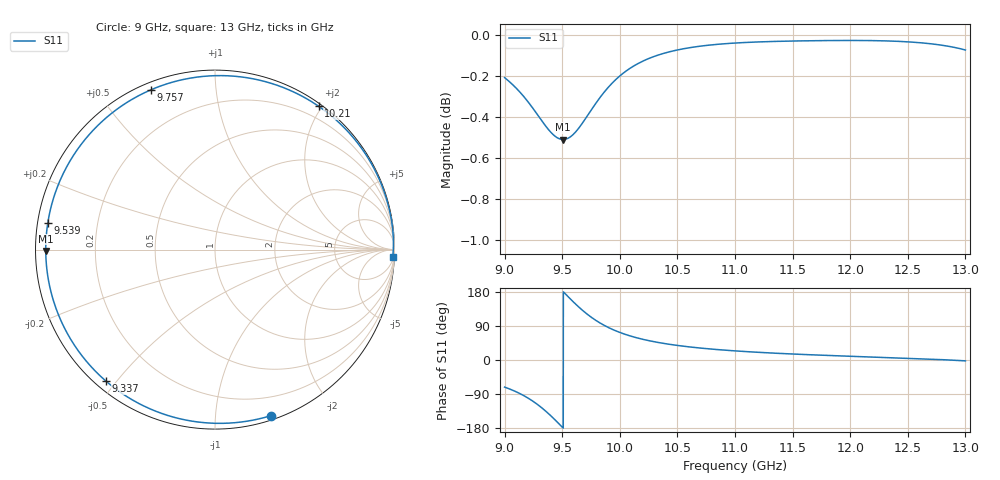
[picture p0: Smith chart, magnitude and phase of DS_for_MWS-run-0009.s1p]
! TOUCHSTONE file generated by CST DESIGN STUDIO
! Date and time: Tue Feb  4 17:12:56 2025
! Project name: C:\Work\MatlabApps\UnitCellOptimizationMatlab\CST\unitcell.cst
! Tree item: Tasks\Sweep1\SPara1\S-Parameters
! Header version: 2024
! Port assignment regex: !\s*Touchstone port\s*([0-9]+)\s*=\s*(CST MWS port|CST DES external port|CST DES block port)\s*(.+)\s* \(\"(.*)\"\)(\s*mode\s*([0-9]+))?.*
! Touchstone port assignment:
! Touchstone port 1 = CST DES external port 1 ("")
# GHz S MA R 50
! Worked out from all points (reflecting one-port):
!   4001 points, 9 GHz to 13 GHz, reference 50 ohm
!   lowest |S11| = -0.5 dB at 9.508 GHz (marker M1), VSWR 34.09, Z = 1.47 - j0.211 ohm
!   phase of S11 starts at -72 deg and turns -291 deg over the sweep
!   S11 on the Smith chart (normalised r, x): 9 GHz: 0.04, -1.39; 9.337 GHz: 0.03, -0.47; 9.539 GHz: 0.03, +0.08; 9.757 GHz: 0.03, +0.68; 10.21 GHz: 0.04, +1.96; 13 GHz: 10, -48
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9  0.9762 -71.5
9.094  0.9709 -83.0
9.198  0.9635 -99.5
9.271  0.9574 -114.1
9.337  0.9517 -129.8
9.381  0.9482 -141.5
9.427  0.9453 -154.7
9.464  0.9437 -165.9
9.5  0.943 -177.0
9.508  0.943 -179.5
9.539  0.9434 170.8
9.592  0.9455 154.7
9.652  0.9497 137.5
9.704  0.9543 124.1
9.757  0.9592 111.8
9.806  0.9635 101.8
9.861  0.9681 92.0
10  0.9771 72.8
10.097  0.9817 62.9
10.206  0.9855 54.2
10.341  0.9888 45.8
10.5  0.9915 38.4
10.721  0.9938 30.9
11  0.9953 24.0
11.5  0.9964 15.8
12  0.9968 9.9
12.5  0.996 4.5
13  0.9914 -2.3
